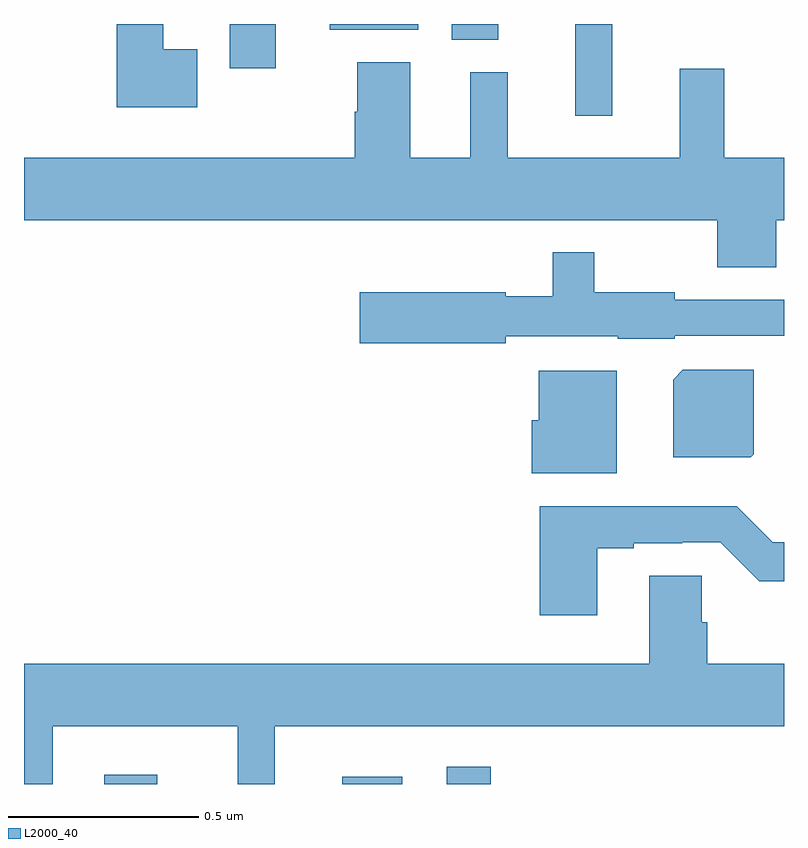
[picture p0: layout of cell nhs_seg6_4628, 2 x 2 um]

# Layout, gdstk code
import gdstk
lib = gdstk.Library(unit=1e-6, precision=1e-09)
def R(c, l, rs):  # rectangles x0, y0, x1, y1
    for r in rs: c.add(gdstk.rectangle(r[:2], r[2:], *l))
def P(c, l, *ps):  # polygons
    for p in ps: c.add(gdstk.Polygon(p, *l))
L2000_40 = (2000, 40)

nhs_seg6_4628 = lib.new_cell('nhs_seg6_4628')
R(nhs_seg6_4628, L2000_40, [(172.211,964.5,172.351,964.525), (172.838,964.5,172.996,964.519), (173.112,964.5,173.228,964.546), (173.451,966.258,173.548,966.5), (172.541,966.384,172.663,966.5), (173.126,966.458,173.248,966.5), (172.805,966.485,173.038,966.5)])
P(nhs_seg6_4628, L2000_40, [(172.456,966.433),(172.366,966.433),(172.366,966.5),(172.244,966.5),(172.244,966.281),(172.456,966.281)],
  [(173.824,965.86),(173.979,965.86),(173.979,965.984),(174,965.984),(174,966.148),(173.843,966.148),(173.843,966.382),(173.726,966.382),(173.726,966.148),(173.273,966.148),(173.273,966.373),(173.174,966.373),(173.174,966.148),(173.017,966.148),(173.017,966.4),(172.877,966.4),(172.877,966.269),(172.87,966.269),(172.87,966.148),(172,966.148),(172,965.984),(173.824,965.984)],
  [(173.268,965.678),(173.562,965.678),(173.562,965.672),(173.712,965.672),(173.712,965.679),(174,965.679),(174,965.775),(173.712,965.775),(173.712,965.794),(173.5,965.794),(173.5,965.899),(173.391,965.899),(173.391,965.783),(173.268,965.783),(173.268,965.794),(172.884,965.794),(172.884,965.66),(173.268,965.66)],
  [(173.92,965.368),(173.92,965.59),(173.734,965.59),(173.708,965.564),(173.708,965.36),(173.912,965.36)],
  [(173.56,965.588),(173.354,965.588),(173.354,965.457),(173.336,965.457),(173.336,965.318),(173.56,965.318)],
  [(173.509,965.121),(173.605,965.121),(173.605,965.133),(173.732,965.133),(173.732,965.136),(173.832,965.136),(173.935,965.034),(174,965.034),(174,965.136),(173.97,965.136),(173.875,965.231),(173.357,965.231),(173.357,964.944),(173.509,964.944)],
  [(172.075,964.652),(172.562,964.652),(172.562,964.5),(172.66,964.5),(172.66,964.652),(174,964.652),(174,964.816),(173.798,964.816),(173.798,964.926),(173.784,964.926),(173.784,965.048),(173.645,965.048),(173.645,964.816),(172,964.816),(172,964.5),(172.075,964.5)])

lib.write_gds('nhs_seg6_4628.gds')
